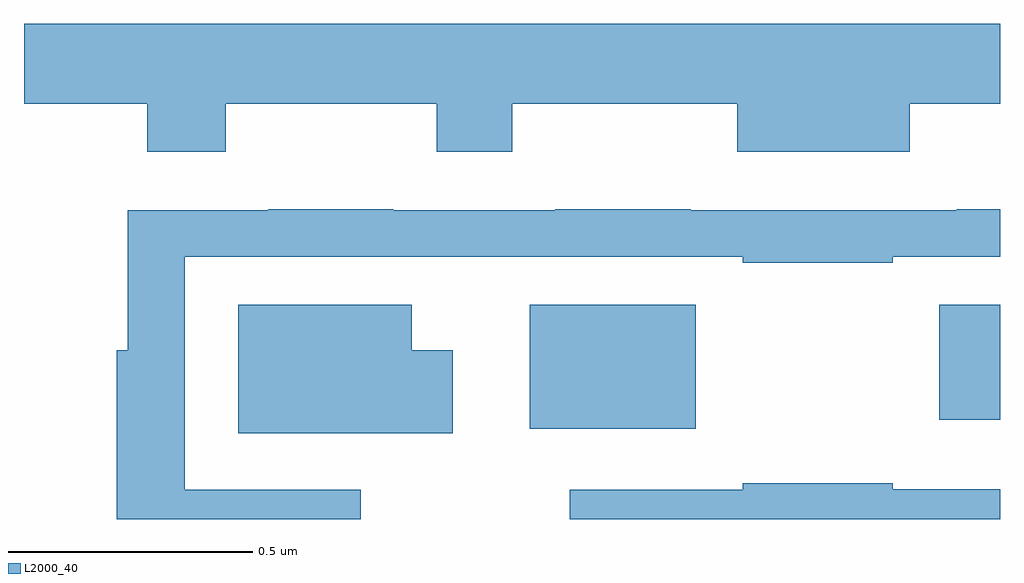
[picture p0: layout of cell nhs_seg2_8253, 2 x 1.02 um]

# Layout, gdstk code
import gdstk
lib = gdstk.Library(unit=1e-6, precision=1e-09)
def R(c, l, rs):  # rectangles x0, y0, x1, y1
    for r in rs: c.add(gdstk.rectangle(r[:2], r[2:], *l))
def P(c, l, *ps):  # polygons
    for p in ps: c.add(gdstk.Polygon(p, *l))
L2000_40 = (2000, 40)

nhs_seg2_8253 = lib.new_cell('nhs_seg2_8253')
R(nhs_seg2_8253, L2000_40, [(215.036,630.986,215.377,631.24), (215.876,631.004,216,631.24)])
P(nhs_seg2_8253, L2000_40, [(214.413,631.652),(214.846,631.652),(214.846,631.553),(215.001,631.553),(215.001,631.652),(215.462,631.652),(215.462,631.553),(215.815,631.553),(215.815,631.652),(216,631.652),(216,631.816),(214,631.816),(214,631.652),(214.253,631.652),(214.253,631.553),(214.413,631.553)],
  [(214.69,630.861),(214.329,630.861),(214.329,631.338),(215.473,631.338),(215.473,631.326),(215.78,631.326),(215.78,631.338),(216,631.338),(216,631.436),(215.911,631.436),(215.911,631.434),(215.366,631.434),(215.366,631.436),(215.089,631.436),(215.089,631.434),(214.757,631.434),(214.757,631.436),(214.501,631.436),(214.501,631.434),(214.213,631.434),(214.213,631.147),(214.19,631.147),(214.19,630.8),(214.69,630.8)],
  [(214.879,631.147),(214.795,631.147),(214.795,631.24),(214.439,631.24),(214.439,630.977),(214.879,630.977)],
  [(216,630.862),(215.78,630.862),(215.78,630.874),(215.473,630.874),(215.473,630.861),(215.118,630.861),(215.118,630.8),(216,630.8)])

lib.write_gds('nhs_seg2_8253.gds')
